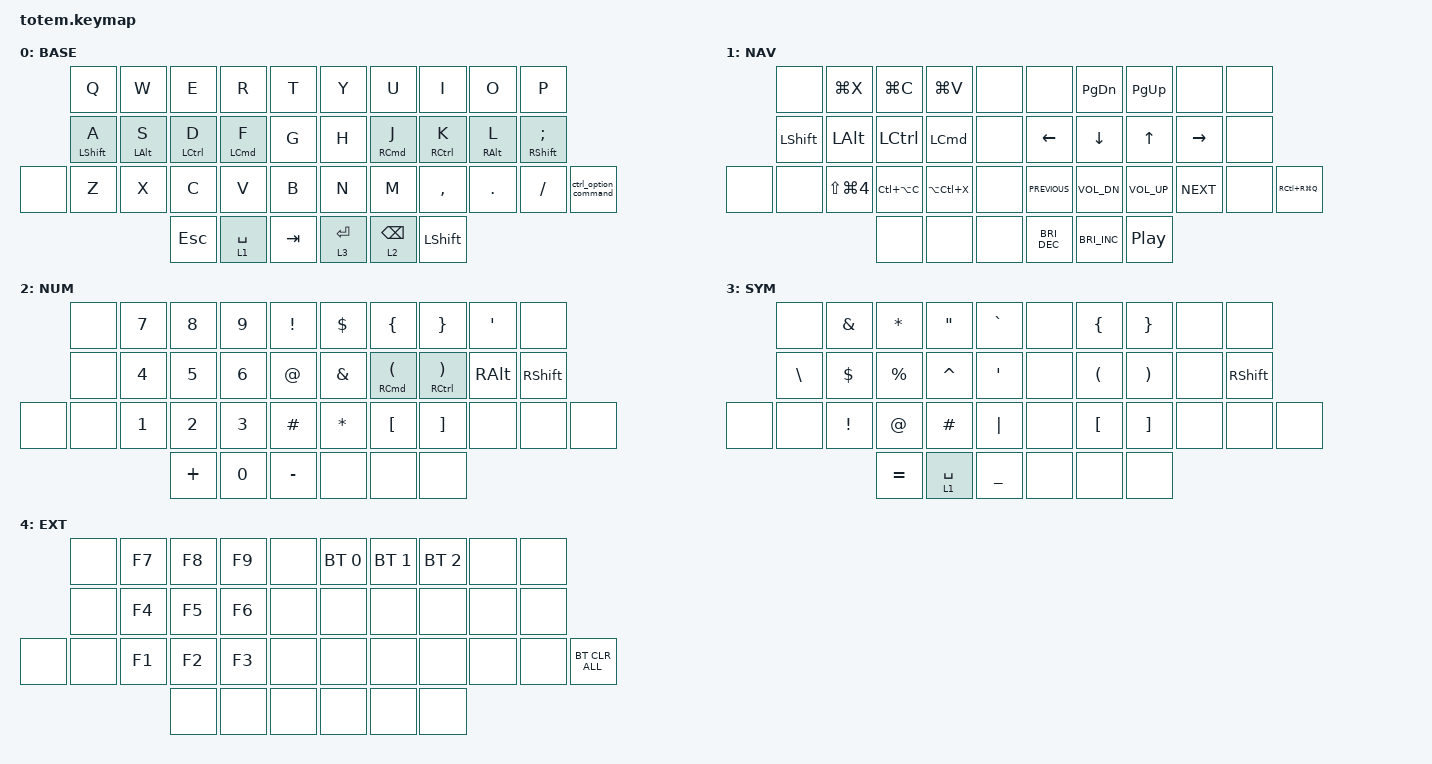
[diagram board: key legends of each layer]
//
//                                                        ▀▀▀▀▀     ▀▀▀▀▀          ▀▀█▀▀
//                                                        ▄▀▀▀▄  ▄  ▄▀▀▀▄  ▄  ▄▀▀▀▄  █  ▄▀▀▀▄
//                                                        █   █  █  █   █  █  █   █  █  █   █
//                                                         ▀▀▀   █   ▀▀▀   █   ▀▀▀   ▀   ▀▀▀
//                                                               █      ▄▄▄█▄▄▄    █   █  
//                                                               ▀      █  █  █     █▄█
//                                                             ▀▀▀▀▀    █  █  █      ▀
//                                                                      ▀  ▀  ▀
//
// ▄▄▄▄▄▄▄▄▄▄▄▄▄▄▄▄▄▄▄▄▄▄▄▄▄▄▄▄▄▄▄▄▄▄▄▄▄▄▄▄▄▄▄▄▄▄▄▄▄▄▄▄▄▄▄▄▄▄▄▄▄▄▄▄▄▄▄▄▄▄▄▄▄▄▄▄▄▄▄▄▄▄▄▄▄▄▄▄▄▄▄▄▄▄▄▄▄▄▄▄▄▄▄▄▄▄▄▄▄▄▄▄▄▄▄▄▄▄▄▄▄▄▄▄▄▄▄▄▄▄▄▄▄▄▄▄▄▄▄▄▄▄▄▄▄▄▄▄▄

#include <behaviors.dtsi>
#include <dt-bindings/zmk/bt.h>
#include <dt-bindings/zmk/keys.h>

#define BASE 0
#define NAV  1
#define SYM  2
#define ADJ  3

&mt {
    quick-tap-ms = <100>;
    flavor = "tap-preferred";
    tapping-term-ms = <170>;
};

/ {
    combos {
        compatible = "zmk,combos";

        alt-tab {
            bindings = <&kp RA(TAB)>;
            key-positions = <18 34>;
        };

        esc {
            bindings = <&kp ESCAPE>;
            key-positions = <16 17>;
        };

        alt {
            bindings = <&kp LA(TAB)>;
            key-positions = <11 34>;
        };
    };

    behaviors {
        ctrl_option_command: ctrl_option_command {
            compatible = "zmk,behavior-mod-morph";
            bindings = <&kp LA(LEFT_COMMAND)>, <&none>;

            #binding-cells = <0>;
            mods = <(MOD_LCTL)>;
        };

        hml: hml {
            compatible = "zmk,behavior-hold-tap";
            bindings = <&kp>, <&kp>;

            #binding-cells = <2>;
            flavor = "balanced";
            tapping-term-ms = <250>;
            quick-tap-ms = <150>;
            require-prior-idle-ms = <80>;
            hold-trigger-key-positions = <32 33 34 35 36 37 5 6 7 8 9 15 16 17 18 19 26 27 28 29 30 31 36 37>;
            hold-trigger-on-release;
        };

        hmr: hmr {
            compatible = "zmk,behavior-hold-tap";
            bindings = <&kp>, <&kp>;

            #binding-cells = <2>;
            tapping-term-ms = <250>;
            quick-tap-ms = <150>;
            require-prior-idle-ms = <80>;
            hold-trigger-key-positions = <0 1 2 3 4 10 11 12 13 14 20 21 22 23 24 25 32 33 34 35 36 37>;
            hold-trigger-on-release;
            flavor = "balanced";
        };

        hmr_shift: hmr_shift {
            compatible = "zmk,behavior-hold-tap";
            bindings = <&kp>, <&kp>;

            #binding-cells = <2>;
            tapping-term-ms = <200>;
            quick-tap-ms = <150>;
            require-prior-idle-ms = <50>;
            flavor = "balanced";
            hold-trigger-key-positions = <0 1 2 3 4 10 11 12 13 14 20 21 22 23 24 25 32 33 34 35 36 37>;
            hold-trigger-on-release;
        };

        hml_shift: hml_shift {
            compatible = "zmk,behavior-hold-tap";
            bindings = <&kp>, <&kp>;

            #binding-cells = <2>;
            tapping-term-ms = <200>;
            quick-tap-ms = <150>;
            require-prior-idle-ms = <50>;
            flavor = "balanced";
            hold-trigger-key-positions = <5 6 7 8 9 15 16 17 18 19 26 27 28 29 30 31 35 36 37 34 33 32>;
            hold-trigger-on-release;
        };
    };

    keymap {
        compatible = "zmk,keymap";

        // ▄▄▄▄▄▄▄▄▄▄▄▄▄▄▄▄▄▄▄▄▄▄▄▄▄▄▄▄▄▄▄▄▄▄▄▄▄▄▄▄▄▄▄▄▄▄▄▄▄▄▄▄▄▄▄▄▄▄▄▄▄▄▄▄▄▄▄▄▄▄▄▄▄▄▄▄▄▄▄▄▄▄▄▄▄▄▄▄▄▄▄▄▄▄▄▄▄▄▄▄▄▄▄▄▄▄▄▄▄▄▄▄▄▄▄▄▄▄▄▄▄▄▄▄▄▄▄▄▄▄▄▄▄▄▄▄▄▄▄▄▄▄▄▄▄▄▄▄▄

        BASE {
            //             ┏━━━━━━━━━━━┳━━━━━━━━━━━┳━━━━━━━━━━━┳━━━━━━━━━━━┳━━━━━━━━━━━┓   ┏━━━━━━━━━━━┳━━━━━━━━━━━┳━━━━━━━━━━━┳━━━━━━━━━━━┳━━━━━━━━━━━┓
            //             ┃     Q     ┃     W     ┃     F     ┃     P     ┃     G     ┃   ┃     J     ┃     L     ┃     U     ┃     Y     ┃     ;     ┃
            //             ┣━━━━━━━━━━━╋━━━━━━━━━━━╋━━━━━━━━━━━╋━━━━━━━━━━━╋━━━━━━━━━━━┫   ┣━━━━━━━━━━━╋━━━━━━━━━━━╋━━━━━━━━━━━╋━━━━━━━━━━━╋━━━━━━━━━━━┫
            //             ┃     A     ┃     R     ┃     S     ┃     T     ┃     D     ┃   ┃     H     ┃     N     ┃     E     ┃     I     ┃     O     ┃
            // ┏━━━━━━━━━━━╋━━━━━━━━━━━╋━━━━━━━━━━━╋━━━━━━━━━━━╋━━━━━━━━━━━╋━━━━━━━━━━━┫   ┣━━━━━━━━━━━╋━━━━━━━━━━━╋━━━━━━━━━━━╋━━━━━━━━━━━╋━━━━━━━━━━━╋━━━━━━━━━━━┓
            // ┃           ┃     Z     ┃     X     ┃     C     ┃     V     ┃     B     ┃   ┃     K     ┃     M     ┃     ,     ┃     .     ┃     /     ┃           ┃
            // ┗━━━━━━━━━━━┻━━━━━━━━━━━┻━━━━━━━━━━━╋━━━━━━━━━━━╋━━━━━━━━━━━╋━━━━━━━━━━━┫   ┣━━━━━━━━━━━╋━━━━━━━━━━━╋━━━━━━━━━━━╋━━━━━━━━━━━┻━━━━━━━━━━━┻━━━━━━━━━━━┛
            //                                     ┃           ┃    TAB    ┃    SPC    ┃   ┃   ENTER   ┃   BSPC    ┃           ┃
            //                                     ┗━━━━━━━━━━━┻━━━━━━━━━━━┻━━━━━━━━━━━┛   ┗━━━━━━━━━━━┻━━━━━━━━━━━┻━━━━━━━━━━━┛

            bindings = <
       &kp Q                    &kp W            &kp E                &kp R                &kp T      &kp Y      &kp U                 &kp I                 &kp O             &kp P
       &hml_shift LEFT_SHIFT A  &hml LEFT_ALT S  &hml LEFT_CONTROL D  &hml LEFT_COMMAND F  &kp G      &kp H      &hmr RIGHT_COMMAND J  &hmr RIGHT_CONTROL K  &hmr RIGHT_ALT L  &hmr_shift RIGHT_SHIFT SEMI
&none  &kp Z                    &kp X            &kp C                &kp V                &kp B      &kp N      &kp M                 &kp COMMA             &kp PERIOD        &kp SLASH                    &ctrl_option_command
                                                 &kp ESC              &lt 1 SPACE          &kp TAB    &lt 3 RET  &lt 2 BACKSPACE       &kp LEFT_SHIFT
            >;
        };

        NAV {
            bindings = <
       &none           &kp LG(X)             &kp LG(C)         &kp LG(V)         &none    &none                 &kp PAGE_DOWN         &kp PAGE_UP       &none            &none
       &kp LEFT_SHIFT  &kp LEFT_ALT          &kp LEFT_CONTROL  &kp LEFT_COMMAND  &none    &kp LEFT_ARROW        &kp DOWN_ARROW        &kp UP_ARROW      &kp RIGHT_ARROW  &none
&none  &none           &kp LS(LG(NUMBER_4))  &kp LC(LA(C))     &kp LA(LC(X))     &none    &kp C_PREVIOUS        &kp C_VOL_DN          &kp C_VOLUME_UP   &kp C_NEXT       &none  &kp RC(RG(Q))
                                             &none             &none             &none    &kp C_BRIGHTNESS_DEC  &kp C_BRIGHTNESS_INC  &kp C_PLAY_PAUSE
            >;
        };

        NUM {
            bindings = <
       &none  &kp NUMBER_7  &kp NUMBER_8  &kp NUMBER_9  &kp EXCLAMATION    &kp DOLLAR     &kp LEFT_BRACE                      &kp RIGHT_BRACE                      &kp APOSTROPHE  &none
       &none  &kp NUMBER_4  &kp N5        &kp NUMBER_6  &kp AT_SIGN        &kp AMPERSAND  &mt RIGHT_COMMAND LEFT_PARENTHESIS  &mt RIGHT_CONTROL RIGHT_PARENTHESIS  &kp RIGHT_ALT   &kp RIGHT_SHIFT
&none  &none  &kp NUMBER_1  &kp NUMBER_2  &kp NUMBER_3  &kp HASH           &kp ASTERISK   &kp LEFT_BRACKET                    &kp RIGHT_BRACKET                    &none           &none            &none
                            &kp PLUS      &kp N0        &kp MINUS          &none          &none                               &none
            >;
        };

        SYM {
            bindings = <
       &none          &kp AMPERSAND  &kp ASTERISK  &kp DOUBLE_QUOTES  &kp GRAVE           &none  &kp LEFT_BRACE        &kp RIGHT_BRACE        &none  &none
       &kp BACKSLASH  &kp DOLLAR     &kp PERCENT   &kp CARET          &kp SINGLE_QUOTE    &none  &kp LEFT_PARENTHESIS  &kp RIGHT_PARENTHESIS  &none  &kp RIGHT_SHIFT
&none  &none          &kp EXCL       &kp AT_SIGN   &kp HASH           &kp PIPE            &none  &kp LEFT_BRACKET      &kp RIGHT_BRACKET      &none  &none            &none
                                     &kp EQUAL     &lt 1 SPACE        &kp UNDERSCORE      &none  &none                 &none
            >;
        };

        EXT {
            bindings = <
       &none  &kp F7  &kp F8  &kp F9  &none    &bt BT_SEL 0  &bt BT_SEL 1  &bt BT_SEL 2  &none  &none
       &none  &kp F4  &kp F5  &kp F6  &none    &none         &none         &none         &none  &none
&none  &none  &kp F1  &kp F2  &kp F3  &none    &none         &none         &none         &none  &none  &bt BT_CLR_ALL
                      &none   &none   &none    &none         &none         &none
            >;
        };
    };

    conditional_layers {
        compatible = "zmk,conditional-layers";

        Extra {
            if-layers = <1 3>;
            then-layer = <4>;
        };
    };
};
